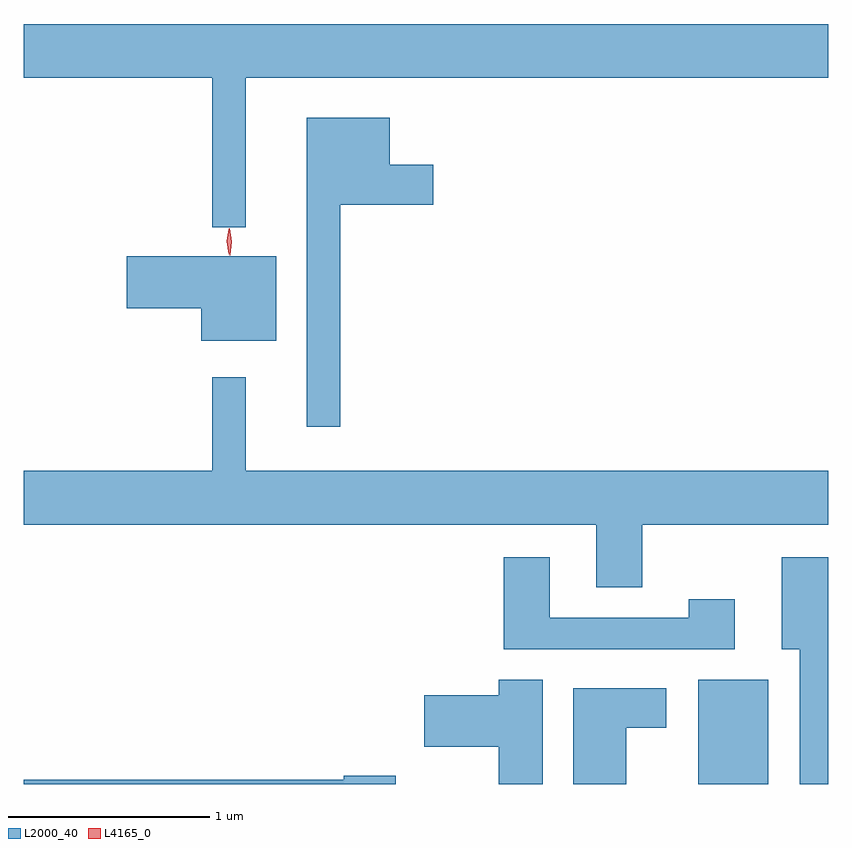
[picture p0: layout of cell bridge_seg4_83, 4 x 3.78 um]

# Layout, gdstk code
import gdstk
lib = gdstk.Library(unit=1e-6, precision=1e-09)
def R(c, l, rs):  # rectangles x0, y0, x1, y1
    for r in rs: c.add(gdstk.rectangle(r[:2], r[2:], *l))
def P(c, l, *ps):  # polygons
    for p in ps: c.add(gdstk.Polygon(p, *l))
L2000_40 = (2000, 40)
L4165_0 = (4165, 0)

bridge_seg4_83 = lib.new_cell('bridge_seg4_83')
R(bridge_seg4_83, L2000_40, [(1127.226,1373.367,1127.574,1373.884)])
P(bridge_seg4_83, L2000_40, [(1124.979,1376.876),(1127.874,1376.876),(1127.874,1377.144),(1123.874,1377.144),(1123.874,1376.876),(1124.811,1376.876),(1124.811,1376.133),(1124.979,1376.133)],
  [(1125.449,1376.246),(1125.909,1376.246),(1125.909,1376.444),(1125.694,1376.444),(1125.694,1376.679),(1125.281,1376.679),(1125.281,1375.143),(1125.449,1375.143)],
  [(1125.129,1375.989),(1124.386,1375.989),(1124.386,1375.731),(1124.756,1375.731),(1124.756,1375.571),(1125.129,1375.571)],
  [(1126.949,1374.656),(1127.874,1374.656),(1127.874,1374.924),(1124.979,1374.924),(1124.979,1375.388),(1124.811,1375.388),(1124.811,1374.924),(1123.874,1374.924),(1123.874,1374.656),(1126.721,1374.656),(1126.721,1374.346),(1126.949,1374.346)],
  [(1127.874,1374.494),(1127.641,1374.494),(1127.641,1374.036),(1127.731,1374.036),(1127.731,1373.367),(1127.874,1373.367)],
  [(1127.409,1374.284),(1127.181,1374.284),(1127.181,1374.194),(1126.489,1374.194),(1126.489,1374.494),(1126.261,1374.494),(1126.261,1374.036),(1127.409,1374.036)],
  [(1126.454,1373.884),(1126.236,1373.884),(1126.236,1373.809),(1125.866,1373.809),(1125.866,1373.551),(1126.236,1373.551),(1126.236,1373.367),(1126.454,1373.367)],
  [(1126.869,1373.646),(1127.069,1373.646),(1127.069,1373.844),(1126.606,1373.844),(1126.606,1373.367),(1126.869,1373.367)],
  [(1125.724,1373.409),(1125.466,1373.409),(1125.466,1373.389),(1123.874,1373.389),(1123.874,1373.367),(1125.724,1373.367)])
P(bridge_seg4_83, L4165_0, [(1124.893,1376),(1124.893,1376),(1124.884,1376.064),(1124.894,1376.126),(1124.895,1376.127),(1124.896,1376.126),(1124.904,1376.063),(1124.894,1376)],
  [(1124.899,1375.994),(1124.899,1375.994),(1124.889,1376.062),(1124.898,1376.13),(1124.898,1376.13),(1124.899,1376.13),(1124.909,1376.062),(1124.9,1375.994)])

lib.write_gds('bridge_seg4_83.gds')
